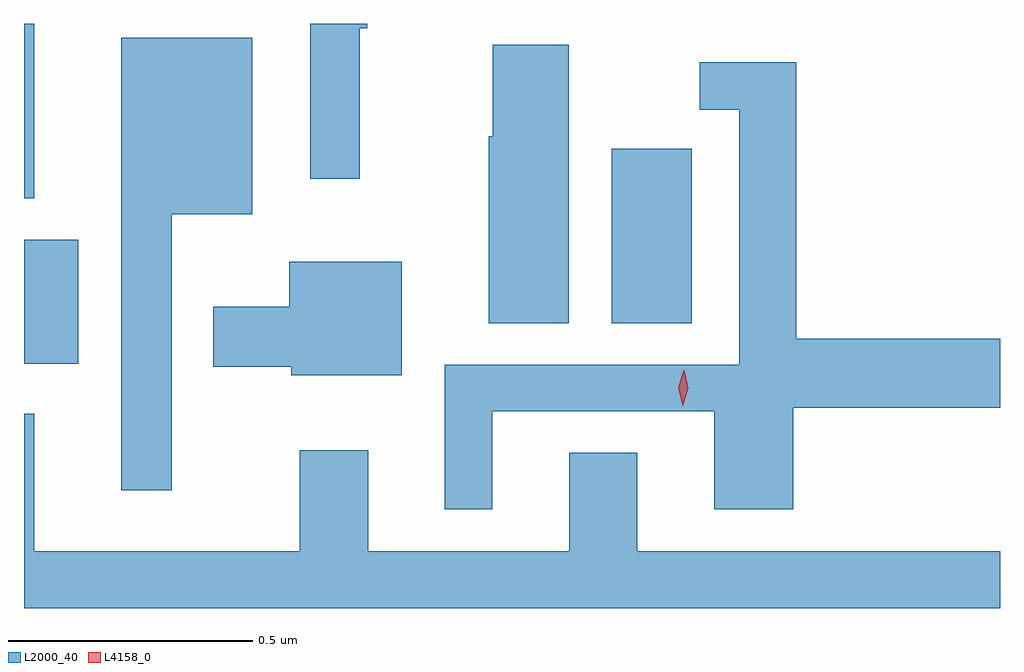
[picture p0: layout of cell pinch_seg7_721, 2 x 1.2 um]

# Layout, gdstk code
import gdstk
lib = gdstk.Library(unit=1e-6, precision=1e-09)
def R(c, l, rs):  # rectangles x0, y0, x1, y1
    for r in rs: c.add(gdstk.rectangle(r[:2], r[2:], *l))
def P(c, l, *ps):  # polygons
    for p in ps: c.add(gdstk.Polygon(p, *l))
L2000_40 = (2000, 40)
L4158_0 = (4158, 0)

pinch_seg7_721 = lib.new_cell('pinch_seg7_721')
R(pinch_seg7_721, L2000_40, [(352.624,998.501,352.735,998.755), (353.828,998.584,353.992,998.941), (352.624,998.84,352.645,999.197)])
P(pinch_seg7_721, L2000_40, [(353.312,999.188),(353.327,999.188),(353.327,999.197),(353.211,999.197),(353.211,998.88),(353.312,998.88)],
  [(352.927,998.807),(353.092,998.807),(353.092,999.169),(352.823,999.169),(352.823,998.241),(352.927,998.241)],
  [(353.74,999.154),(353.585,999.154),(353.585,998.967),(353.576,998.967),(353.576,998.584),(353.74,998.584)],
  [(353.584,998.403),(354.038,998.403),(354.038,998.202),(354.2,998.202),(354.2,998.41),(354.624,998.41),(354.624,998.552),(354.206,998.552),(354.206,999.118),(354.009,999.118),(354.009,999.021),(354.09,999.021),(354.09,998.499),(353.486,998.499),(353.486,998.202),(353.584,998.202)],
  [(353.398,998.71),(353.168,998.71),(353.168,998.617),(353.012,998.617),(353.012,998.495),(353.172,998.495),(353.172,998.477),(353.398,998.477)],
  [(354.624,998.116),(353.881,998.116),(353.881,998.318),(353.741,998.318),(353.741,998.116),(353.329,998.116),(353.329,998.323),(353.189,998.323),(353.189,998.116),(352.645,998.116),(352.645,998.398),(352.624,998.398),(352.624,998),(354.624,998)])
P(pinch_seg7_721, L4158_0, [(353.974,998.414),(353.974,998.415),(353.965,998.451),(353.976,998.487),(353.977,998.487),(353.977,998.487),(353.985,998.45),(353.974,998.415)])

lib.write_gds('pinch_seg7_721.gds')
